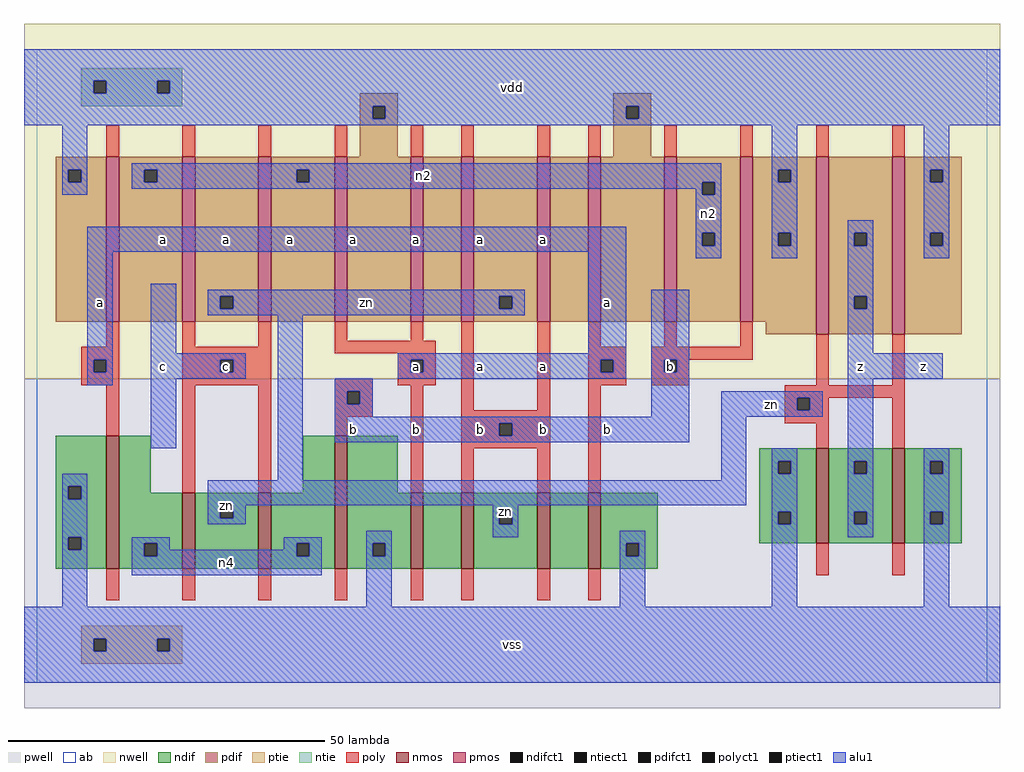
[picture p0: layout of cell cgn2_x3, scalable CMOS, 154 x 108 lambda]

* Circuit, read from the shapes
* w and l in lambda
.subckt cgn2_x3 a b c n2 n4 vdd vss z zn
M1 n4 a vss vss nfet w=21 l=2
M2 zn c n4 vss nfet w=12 l=2 m=2
M3 vss b n4 vss nfet w=21 l=2
M4 n1 a vss vss nfet w=12 l=2
M5 zn b n1 vss nfet w=12 l=2
M6 n3 b zn vss nfet w=12 l=2
M7 vss a n3 vss nfet w=12 l=2
M8 z zn vss vss nfet w=15 l=2 m=2
M9 n2 a vdd vdd pfet w=26 l=2 m=2
M10 zn c n2 vdd pfet w=26 l=2 m=2
M11 n5 a vdd vdd pfet w=26 l=2
M12 zn b n5 vdd pfet w=26 l=2
M13 n6 b zn vdd pfet w=26 l=2
M14 vdd a n6 vdd pfet w=26 l=2
M15 n2 b vdd vdd pfet w=26 l=2 m=2
M16 z zn vdd vdd pfet w=28 l=2 m=2
.ends

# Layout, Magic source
magic
tech scmos
<< ab >>
rect 0 0 150 100
<< nwell >>
rect -2 48 152 104
<< pwell >>
rect -2 -4 152 48
<< poly >>
rect 11 83 13 88
rect 23 83 25 88
rect 35 83 37 88
rect 47 83 49 88
rect 59 83 61 88
rect 67 83 69 88
rect 79 83 81 88
rect 87 83 89 88
rect 99 83 101 88
rect 111 83 113 88
rect 123 83 125 88
rect 135 83 137 88
rect 11 53 13 57
rect 7 51 13 53
rect 7 49 9 51
rect 11 49 13 51
rect 7 47 13 49
rect 11 39 13 47
rect 23 53 25 57
rect 35 53 37 57
rect 23 51 37 53
rect 47 54 49 57
rect 59 54 61 57
rect 47 52 63 54
rect 23 49 29 51
rect 31 49 37 51
rect 23 47 37 49
rect 57 51 63 52
rect 57 49 59 51
rect 61 49 63 51
rect 23 30 25 47
rect 35 30 37 47
rect 47 46 53 48
rect 57 47 63 49
rect 47 44 49 46
rect 51 44 53 46
rect 47 42 53 44
rect 47 39 49 42
rect 59 30 61 47
rect 67 43 69 57
rect 79 43 81 57
rect 67 41 81 43
rect 67 39 73 41
rect 75 39 81 41
rect 67 37 81 39
rect 67 30 69 37
rect 79 30 81 37
rect 87 53 89 57
rect 99 53 101 57
rect 111 53 113 57
rect 87 51 93 53
rect 87 49 89 51
rect 91 49 93 51
rect 87 47 93 49
rect 97 51 113 53
rect 97 49 99 51
rect 101 49 103 51
rect 97 47 103 49
rect 123 47 125 55
rect 135 47 137 55
rect 87 30 89 47
rect 118 45 137 47
rect 118 43 120 45
rect 122 43 125 45
rect 118 41 125 43
rect 123 37 125 41
rect 135 37 137 45
rect 11 13 13 18
rect 23 13 25 18
rect 35 13 37 18
rect 47 13 49 18
rect 59 13 61 18
rect 67 13 69 18
rect 79 13 81 18
rect 87 13 89 18
rect 123 17 125 22
rect 135 17 137 22
<< ndif >>
rect 3 31 11 39
rect 3 29 5 31
rect 7 29 11 31
rect 3 23 11 29
rect 3 21 5 23
rect 7 21 11 23
rect 3 18 11 21
rect 13 30 18 39
rect 42 30 47 39
rect 13 22 23 30
rect 13 20 17 22
rect 19 20 23 22
rect 13 18 23 20
rect 25 28 35 30
rect 25 26 29 28
rect 31 26 35 28
rect 25 18 35 26
rect 37 22 47 30
rect 37 20 41 22
rect 43 20 47 22
rect 37 18 47 20
rect 49 30 57 39
rect 114 35 123 37
rect 114 33 117 35
rect 119 33 123 35
rect 49 22 59 30
rect 49 20 53 22
rect 55 20 59 22
rect 49 18 59 20
rect 61 18 67 30
rect 69 27 79 30
rect 69 25 73 27
rect 75 25 79 27
rect 69 18 79 25
rect 81 18 87 30
rect 89 22 98 30
rect 114 27 123 33
rect 114 25 117 27
rect 119 25 123 27
rect 114 22 123 25
rect 125 35 135 37
rect 125 33 129 35
rect 131 33 135 35
rect 125 27 135 33
rect 125 25 129 27
rect 131 25 135 27
rect 125 22 135 25
rect 137 35 146 37
rect 137 33 141 35
rect 143 33 146 35
rect 137 27 146 33
rect 137 25 141 27
rect 143 25 146 27
rect 137 22 146 25
rect 89 20 93 22
rect 95 20 98 22
rect 89 18 98 20
<< pdif >>
rect 51 91 57 93
rect 51 89 53 91
rect 55 89 57 91
rect 51 83 57 89
rect 91 91 97 93
rect 91 89 93 91
rect 95 89 97 91
rect 91 83 97 89
rect 3 81 11 83
rect 3 79 5 81
rect 7 79 11 81
rect 3 57 11 79
rect 13 81 23 83
rect 13 79 17 81
rect 19 79 23 81
rect 13 57 23 79
rect 25 61 35 83
rect 25 59 29 61
rect 31 59 35 61
rect 25 57 35 59
rect 37 81 47 83
rect 37 79 41 81
rect 43 79 47 81
rect 37 57 47 79
rect 49 57 59 83
rect 61 57 67 83
rect 69 61 79 83
rect 69 59 73 61
rect 75 59 79 61
rect 69 57 79 59
rect 81 57 87 83
rect 89 57 99 83
rect 101 79 111 83
rect 101 77 105 79
rect 107 77 111 79
rect 101 71 111 77
rect 101 69 105 71
rect 107 69 111 71
rect 101 57 111 69
rect 113 81 123 83
rect 113 79 117 81
rect 119 79 123 81
rect 113 71 123 79
rect 113 69 117 71
rect 119 69 123 71
rect 113 57 123 69
rect 115 55 123 57
rect 125 71 135 83
rect 125 69 129 71
rect 131 69 135 71
rect 125 61 135 69
rect 125 59 129 61
rect 131 59 135 61
rect 125 55 135 59
rect 137 81 146 83
rect 137 79 141 81
rect 143 79 146 81
rect 137 71 146 79
rect 137 69 141 71
rect 143 69 146 71
rect 137 55 146 69
<< alu1 >>
rect -2 95 152 100
rect -2 93 9 95
rect 11 93 19 95
rect 21 93 152 95
rect -2 91 152 93
rect -2 89 53 91
rect 55 89 93 91
rect 95 89 152 91
rect -2 88 152 89
rect 4 81 8 88
rect 4 79 5 81
rect 7 79 8 81
rect 4 77 8 79
rect 15 81 108 82
rect 15 79 17 81
rect 19 79 41 81
rect 43 79 108 81
rect 15 78 105 79
rect 104 77 105 78
rect 107 77 108 79
rect 8 68 93 72
rect 8 51 12 68
rect 8 49 9 51
rect 11 49 12 51
rect 8 47 12 49
rect 18 52 22 63
rect 27 61 77 62
rect 27 59 29 61
rect 31 59 73 61
rect 75 59 77 61
rect 27 58 77 59
rect 18 51 33 52
rect 18 49 29 51
rect 31 49 33 51
rect 18 48 33 49
rect 18 37 22 48
rect 4 31 8 33
rect 38 32 42 58
rect 87 52 93 68
rect 104 71 108 77
rect 104 69 105 71
rect 107 69 108 71
rect 104 67 108 69
rect 116 81 120 88
rect 116 79 117 81
rect 119 79 120 81
rect 116 71 120 79
rect 140 81 144 88
rect 140 79 141 81
rect 143 79 144 81
rect 116 69 117 71
rect 119 69 120 71
rect 116 67 120 69
rect 128 71 132 73
rect 128 69 129 71
rect 131 69 132 71
rect 57 51 93 52
rect 57 49 59 51
rect 61 49 89 51
rect 91 49 93 51
rect 57 48 93 49
rect 97 51 103 62
rect 97 49 99 51
rect 101 49 103 51
rect 47 46 53 48
rect 47 44 49 46
rect 51 44 53 46
rect 47 42 53 44
rect 97 42 103 49
rect 128 61 132 69
rect 140 71 144 79
rect 140 69 141 71
rect 143 69 144 71
rect 140 67 144 69
rect 128 59 129 61
rect 131 59 132 61
rect 128 52 132 59
rect 128 48 143 52
rect 47 41 103 42
rect 47 39 73 41
rect 75 39 103 41
rect 47 38 103 39
rect 108 45 124 46
rect 108 43 120 45
rect 122 43 124 45
rect 108 42 124 43
rect 108 32 112 42
rect 4 29 5 31
rect 7 29 8 31
rect 4 23 8 29
rect 27 28 112 32
rect 116 35 120 37
rect 116 33 117 35
rect 119 33 120 35
rect 27 26 29 28
rect 31 26 33 28
rect 27 25 33 26
rect 72 27 76 28
rect 72 25 73 27
rect 75 25 76 27
rect 4 21 5 23
rect 7 21 8 23
rect 4 12 8 21
rect 15 22 21 23
rect 15 20 17 22
rect 19 21 21 22
rect 39 22 45 23
rect 39 21 41 22
rect 19 20 41 21
rect 43 20 45 22
rect 15 17 45 20
rect 52 22 56 24
rect 72 23 76 25
rect 116 27 120 33
rect 116 25 117 27
rect 119 25 120 27
rect 52 20 53 22
rect 55 20 56 22
rect 52 12 56 20
rect 92 22 96 24
rect 92 20 93 22
rect 95 20 96 22
rect 92 12 96 20
rect 116 12 120 25
rect 128 35 132 48
rect 128 33 129 35
rect 131 33 132 35
rect 128 27 132 33
rect 128 25 129 27
rect 131 25 132 27
rect 128 23 132 25
rect 140 35 144 37
rect 140 33 141 35
rect 143 33 144 35
rect 140 27 144 33
rect 140 25 141 27
rect 143 25 144 27
rect 140 12 144 25
rect -2 7 152 12
rect -2 5 9 7
rect 11 5 19 7
rect 21 5 152 7
rect -2 0 152 5
<< ptie >>
rect 7 7 23 9
rect 7 5 9 7
rect 11 5 19 7
rect 21 5 23 7
rect 7 3 23 5
<< ntie >>
rect 7 95 23 97
rect 7 93 9 95
rect 11 93 19 95
rect 21 93 23 95
rect 7 91 23 93
<< nmos >>
rect 11 18 13 39
rect 23 18 25 30
rect 35 18 37 30
rect 47 18 49 39
rect 59 18 61 30
rect 67 18 69 30
rect 79 18 81 30
rect 87 18 89 30
rect 123 22 125 37
rect 135 22 137 37
<< pmos >>
rect 11 57 13 83
rect 23 57 25 83
rect 35 57 37 83
rect 47 57 49 83
rect 59 57 61 83
rect 67 57 69 83
rect 79 57 81 83
rect 87 57 89 83
rect 99 57 101 83
rect 111 57 113 83
rect 123 55 125 83
rect 135 55 137 83
<< polyct1 >>
rect 9 49 11 51
rect 29 49 31 51
rect 59 49 61 51
rect 49 44 51 46
rect 73 39 75 41
rect 89 49 91 51
rect 99 49 101 51
rect 120 43 122 45
<< ndifct1 >>
rect 5 29 7 31
rect 5 21 7 23
rect 17 20 19 22
rect 29 26 31 28
rect 41 20 43 22
rect 117 33 119 35
rect 53 20 55 22
rect 73 25 75 27
rect 117 25 119 27
rect 129 33 131 35
rect 129 25 131 27
rect 141 33 143 35
rect 141 25 143 27
rect 93 20 95 22
<< ntiect1 >>
rect 9 93 11 95
rect 19 93 21 95
<< ptiect1 >>
rect 9 5 11 7
rect 19 5 21 7
<< pdifct1 >>
rect 53 89 55 91
rect 93 89 95 91
rect 5 79 7 81
rect 17 79 19 81
rect 29 59 31 61
rect 41 79 43 81
rect 73 59 75 61
rect 105 77 107 79
rect 105 69 107 71
rect 117 79 119 81
rect 117 69 119 71
rect 129 69 131 71
rect 129 59 131 61
rect 141 79 143 81
rect 141 69 143 71
<< labels >>
rlabel alu1 20 50 20 50 6 c
rlabel alu1 10 60 10 60 6 a
rlabel alu1 20 70 20 70 6 a
rlabel alu1 30 19 30 19 6 n4
rlabel alu1 30 28 30 28 6 zn
rlabel alu1 50 40 50 40 6 b
rlabel polyct1 30 50 30 50 6 c
rlabel alu1 30 70 30 70 6 a
rlabel alu1 50 70 50 70 6 a
rlabel alu1 40 70 40 70 6 a
rlabel alu1 75 6 75 6 6 vss
rlabel alu1 74 27 74 27 6 zn
rlabel alu1 80 40 80 40 6 b
rlabel alu1 70 40 70 40 6 b
rlabel alu1 60 40 60 40 6 b
rlabel polyct1 60 50 60 50 6 a
rlabel alu1 80 50 80 50 6 a
rlabel alu1 70 50 70 50 6 a
rlabel alu1 52 60 52 60 6 zn
rlabel alu1 60 70 60 70 6 a
rlabel alu1 80 70 80 70 6 a
rlabel alu1 70 70 70 70 6 a
rlabel alu1 75 94 75 94 6 vdd
rlabel alu1 90 40 90 40 6 b
rlabel polyct1 100 50 100 50 6 b
rlabel alu1 90 60 90 60 6 a
rlabel alu1 106 74 106 74 6 n2
rlabel alu1 61 80 61 80 6 n2
rlabel alu1 116 44 116 44 6 zn
rlabel alu1 130 50 130 50 6 z
rlabel alu1 140 50 140 50 6 z
<< end >>
